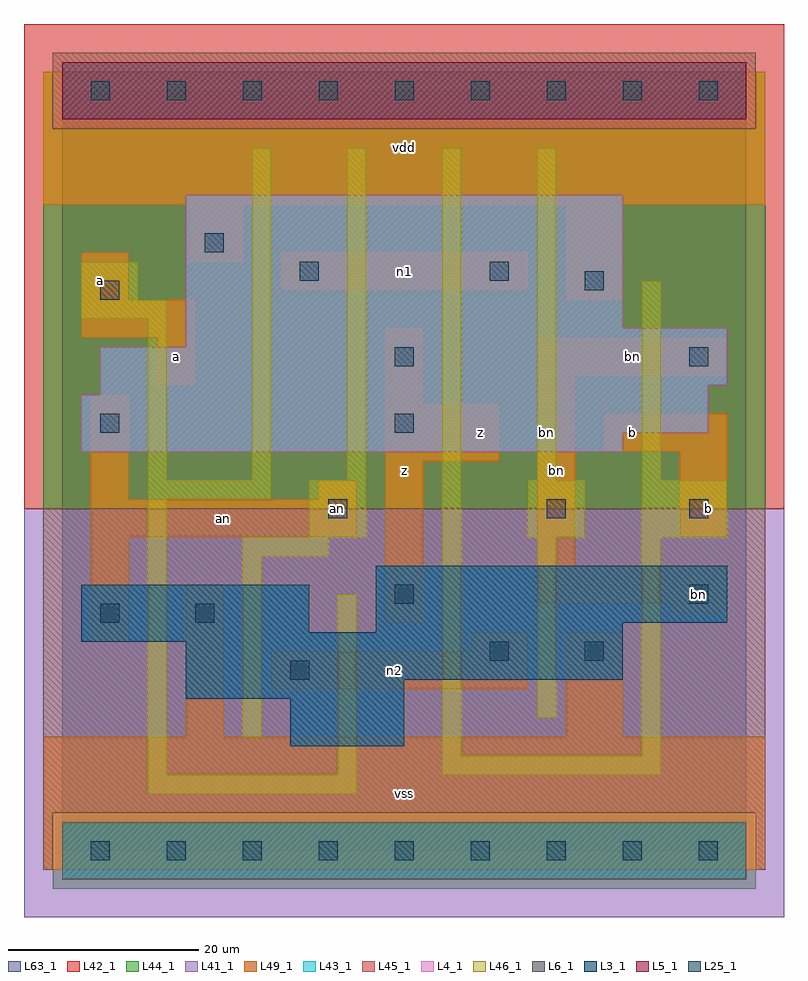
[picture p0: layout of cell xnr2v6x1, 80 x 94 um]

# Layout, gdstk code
import gdstk
lib = gdstk.Library(unit=1e-6, precision=1e-09)
def R(c, l, rs):  # rectangles x0, y0, x1, y1
    for r in rs: c.add(gdstk.rectangle(r[:2], r[2:], *l))
def A(c, l, x, y, w, h, nx, ny, dx, dy):  # array of equal rectangles
    R(c, l, [(x+i*dx, y+j*dy, x+i*dx+w, y+j*dy+h) for i in range(nx) for j in range(ny)])
L3_1 = (3, 1)
L4_1 = (4, 1)
L5_1 = (5, 1)
L6_1 = (6, 1)
L25_1 = (25, 1)
L41_1 = (41, 1)
L42_1 = (42, 1)
L43_1 = (43, 1)
L44_1 = (44, 1)
L45_1 = (45, 1)
L46_1 = (46, 1)
L49_1 = (49, 1)
L63_1 = (63, 1)

xnr2v6x1 = lib.new_cell('xnr2v6x1')
R(xnr2v6x1, L3_1, [(24,11,36,16), (13,16,36,18), (13,18,59,22), (2,22,59,23), (2,23,26,28), (33,23,59,24), (33,24,70,30)])
R(xnr2v6x1, L4_1, [(2,42,59,44), (2,44,68,48), (4,48,68,49), (4,49,70,53), (13,53,70,55), (13,55,59,69)])
R(xnr2v6x1, L5_1, [(0,77,72,83)])
R(xnr2v6x1, L6_1, [(0,-3,72,3), (0,-3,72,3)])
A(xnr2v6x1, L25_1, 3, -1, 2, 2, 9, 2, 8, 80)
R(xnr2v6x1, L25_1, [(24,18,26,20), (45,20,47,22), (55,20,57,22), (4,24,6,26), (14,24,16,26), (35,26,37,28), (66,26,68,28), (28,35,30,37), (51,35,53,37), (66,35,68,37), (4,44,6,46), (35,44,37,46), (35,51,37,53), (66,51,68,53), (4,58,6,60), (55,59,57,61), (25,60,27,62), (45,60,47,62), (15,63,17,65)])
R(xnr2v6x1, L41_1, [(-4,-7,76,36)])
R(xnr2v6x1, L42_1, [(-4,36,76,87)])
R(xnr2v6x1, L43_1, [(0,-3,72,3), (24,11,36,16), (13,16,36,18), (13,18,59,22), (2,22,59,23), (2,23,26,28), (33,23,59,24), (33,24,70,30), (2,42,59,44), (2,44,68,48), (4,48,68,49), (4,49,70,53), (13,53,70,55), (13,55,59,69), (0,77,72,83)])
R(xnr2v6x1, L44_1, [(-1,-4,73,4), (-2,36,74,76), (-2,76,-1,82), (73,76,74,82)])
R(xnr2v6x1, L45_1, [(-2,-2,-1,4), (73,-2,74,4), (-2,4,74,36), (-1,76,73,84)])
R(xnr2v6x1, L46_1, [(9,6,31,8), (9,8,11,37), (29,8,31,27), (40,8,63,10), (40,10,42,74), (61,10,63,33), (19,12,21,31), (50,14,52,33), (19,31,28,33), (26,33,32,39), (49,33,55,39), (61,33,70,39), (9,37,22,39), (9,39,11,56), (20,39,22,74), (30,39,32,74), (50,39,52,74), (61,39,63,60), (2,56,11,58), (2,58,8,62)])
R(xnr2v6x1, L49_1, [(-2,-2,74,12), (13,12,17,28), (53,12,59,23), (22,17,49,21), (43,21,49,23), (3,22,7,33), (34,24,38,41), (64,25,70,26), (50,26,70,30), (50,30,54,50), (3,33,31,37), (65,33,70,42), (3,37,7,48), (27,37,31,39), (34,41,46,47), (57,42,70,46), (34,47,38,55), (10,49,14,54), (50,50,70,54), (2,54,14,58), (2,58,7,63), (53,58,59,68), (23,59,49,63), (13,62,19,68), (-2,68,74,82)])
R(xnr2v6x1, L63_1, [(0,0,72,80)])
xnr2v6x1.add(gdstk.Label('an', (29,36), layer=49, texttype=1))
xnr2v6x1.add(gdstk.Label('bn', (51,44), layer=46, texttype=1))
xnr2v6x1.add(gdstk.Label('a', (12,52), layer=49, texttype=1))
xnr2v6x1.add(gdstk.Label('a', (4,60), layer=49, texttype=1))
xnr2v6x1.add(gdstk.Label('an', (17,35), layer=49, texttype=1))
xnr2v6x1.add(gdstk.Label('vss', (36,6), layer=49, texttype=1))
xnr2v6x1.add(gdstk.Label('n2', (35,19), layer=49, texttype=1))
xnr2v6x1.add(gdstk.Label('z', (44,44), layer=49, texttype=1))
xnr2v6x1.add(gdstk.Label('bn', (52,40), layer=49, texttype=1))
xnr2v6x1.add(gdstk.Label('z', (36,40), layer=49, texttype=1))
xnr2v6x1.add(gdstk.Label('n1', (36,61), layer=49, texttype=1))
xnr2v6x1.add(gdstk.Label('vdd', (36,74), layer=49, texttype=1))
xnr2v6x1.add(gdstk.Label('bn', (67,27), layer=49, texttype=1))
xnr2v6x1.add(gdstk.Label('b', (68,36), layer=49, texttype=1))
xnr2v6x1.add(gdstk.Label('b', (60,44), layer=49, texttype=1))
xnr2v6x1.add(gdstk.Label('bn', (60,52), layer=49, texttype=1))

lib.write_gds('xnr2v6x1.gds')
